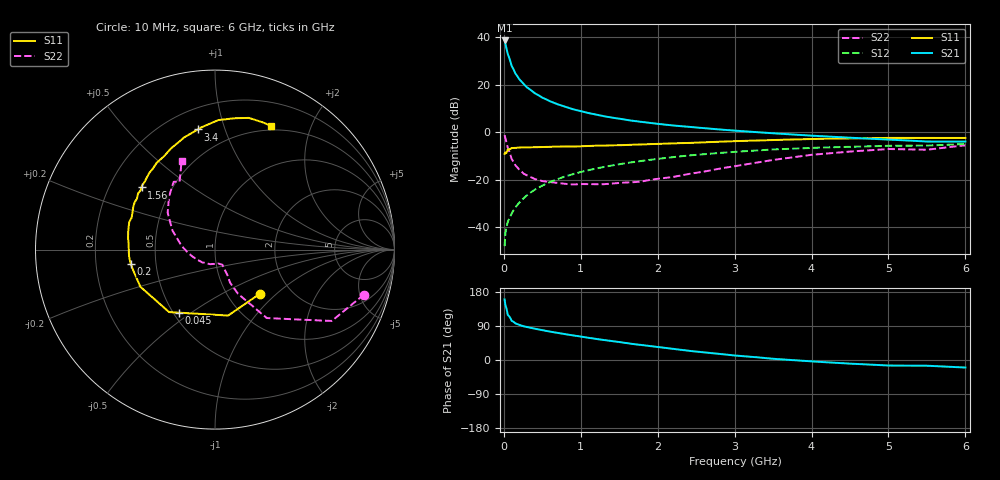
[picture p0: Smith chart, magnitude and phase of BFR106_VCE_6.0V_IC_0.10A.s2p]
! Infineon Technologies  Discrete & RF Semiconductors
! BFR106
! VCE =  6.0 V,  IC = 0.10 A
! Common Emitter S-Parameters:  Nov 2015
# GHz  S  MA  R  50
!  f  S11  S21  S12  S22
! GHz  MAG  ANG  MAG  ANG  MAG  ANG  MAG  ANG
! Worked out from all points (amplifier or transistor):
!   210 points, 10 MHz to 6 GHz, reference 50 ohm
!   highest |S21| = 38.6 dB at 10 MHz (marker M1)
!   |S21| within 3 dB of that: start of sweep to 32.55 MHz
!   unconditionally stable (mu >= 1): 173.8 MHz to 2.485 GHz; 5.451 GHz to 5.741 GHz
!   at 185 MHz: K = 1.01, MAG = 26.0 dB, |S12| = -30.3 dB
!   at 1.52 GHz: K = 1.07, MAG = 7.9 dB, |S12| = -13.4 dB
!   at 6 GHz: K = 0.99, MSG = 0.5 dB, |S12| = -5.0 dB
!   S11 on the Smith chart (normalised r, x): 10 MHz: 1.41, -0.79; 45 MHz: 0.53, -0.45; 200 MHz: 0.36, -0.07; 1.56 GHz: 0.34, +0.33; 3.4 GHz: 0.33, +0.81; 6 GHz: 0.45, +1.46
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0.01  0.3508 -44.4  84.99 160.0  0.004 77.8  0.867 -16.8
0.02  0.3747 -78.7  73.46 144.7  0.0075 66.4  0.7627 -31.4
0.045  0.4047 -119.8  48.67 125.4  0.0119 60.9  0.5188 -47.7
0.05  0.4319 -126.3  44.8 119.2  0.0128 60.3  0.4781 -52.9
0.1  0.4644 -153.5  25.18 103.9  0.0192 65.4  0.2776 -62.5
0.15  0.4691 -164.8  17.18 96.6  0.0259 68.2  0.201 -65.5
0.2  0.476 -170.2  13.05 92.5  0.0328 71.0  0.1631 -64.0
0.24  0.4791 -173.7  10.99 90.0  0.0384 71.7  0.1413 -64.1
0.26  0.48 -175.3  10.14 88.8  0.0412 72.2  0.1334 -64.2
0.3  0.4804 -178.0  8.769 86.8  0.047 73.3  0.1236 -64.4
0.4  0.4817 176.7  6.638 82.6  0.0612 74.1  0.1038 -64.0
0.5  0.4883 172.6  5.333 78.6  0.0751 73.4  0.0935 -64.0
0.6  0.4937 168.8  4.474 74.9  0.0896 73.0  0.0897 -66.6
0.7  0.4974 165.0  3.858 71.2  0.1033 72.1  0.0862 -70.4
1.02  0.5073 154.6  2.712 61.2  0.1478 68.1  0.081 -82.5
1.56  0.5361 139.8  1.853 45.6  0.2194 60.6  0.0867 -113.1
2.02  0.5674 127.9  1.484 33.6  0.2771 53.6  0.1053 -141.8
3.1  0.6535 103.7  1.05 10.3  0.395 37.2  0.2043 167.7
3.4  0.6762 98.2  0.972 5.1  0.423 32.7  0.2456 158.2
4.1  0.7246 87.1  0.828 -4.9  0.4735 22.2  0.3444 139.6
5.1  0.7569 74.4  0.689 -14.7  0.5177 9.5  0.4392 120.6
6  0.7568 65.5  0.634 -19.9  0.5638 -0.3  0.5284 110.6
